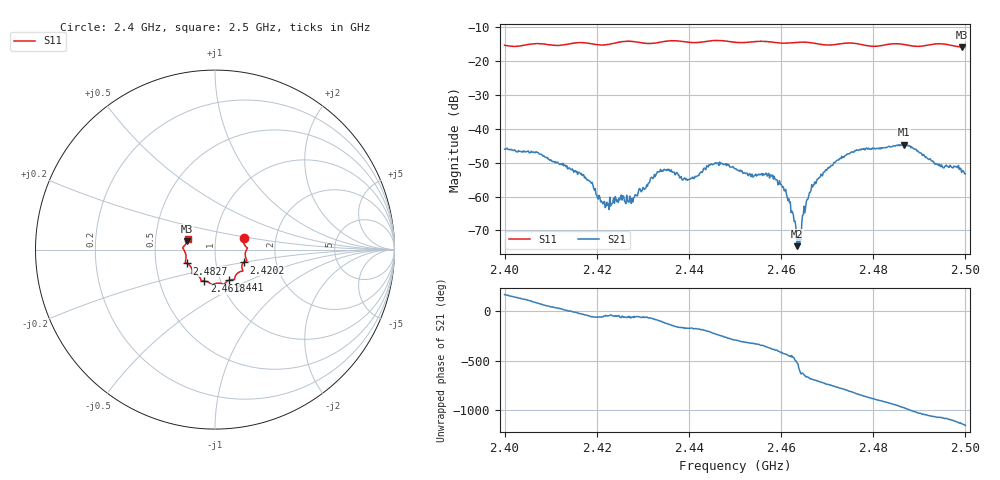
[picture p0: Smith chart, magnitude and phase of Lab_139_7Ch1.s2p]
# Hz S RI R 50
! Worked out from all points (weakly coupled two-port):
!   601 points, 2.4 GHz to 2.5 GHz, reference 50 ohm
!   highest |S21| = -44.68 dB at 2.4867 GHz (marker M1); lowest = -74.7 dB at 2.4635 GHz (marker M2)
!   lowest |S11| = -15.8 dB at 2.4992 GHz (marker M3), VSWR 1.39, Z = 36.4 + j3.62 ohm
!   |S11| at or under -10 dB: start of sweep to end of sweep
!   S12 and S22 are empty: the file has one direction only
!   S11 on the Smith chart (normalised r, x): 2.4 GHz: 1.37, +0.18; 2.4202 GHz: 1.36, -0.20; 2.441 GHz: 1.10, -0.39; 2.4618 GHz: 0.84, -0.30; 2.4827 GHz: 0.72, -0.11; 2.5 GHz: 0.73, +0.09
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2.4e9  0.1591 0.0629  -0.00491 0.000905  0 0  0 0
2.406833e9  0.1806 0.00902  0.000274 0.00459  0 0  0 0
2.416667e9  0.1773 -0.0609  0.00196 -0.000993  0 0  0 0
2.420167e9  0.1589 -0.0716  0.000449 -0.000839  0 0  0 0
2.422167e9  0.1499 -0.0892  0.000579 -0.000588  0 0  0 0
2.427333e9  0.1549 -0.1195  0.000337 -0.000843  0 0  0 0
2.433333e9  0.1116 -0.1507  -6.9e-05 -0.00232  0 0  0 0
2.441e9  0.0787 -0.1698  -0.00184 -5.18e-05  0 0  0 0
2.445333e9  0.0513 -0.1939  -0.0022 0.00204  0 0  0 0
2.45e9  0.0286 -0.1874  0.000959 0.00238  0 0  0 0
2.458167e9  -0.0262 -0.1884  0.00187 -0.000906  0 0  0 0
2.461833e9  -0.0591 -0.1756  -6.13e-05 -0.000811  0 0  0 0
2.4635e9  -0.0713 -0.1752  -0.000177 -5.23e-05  0 0  0 0
2.464e9  -0.0736 -0.1751  -0.000104 0.000162  0 0  0 0
2.465167e9  -0.0767 -0.1738  0.000186 0.000542  0 0  0 0
2.466667e9  -0.0788 -0.1683  0.00126 0.000798  0 0  0 0
2.474833e9  -0.1271 -0.1341  -7.71e-05 -0.00428  0 0  0 0
2.482667e9  -0.1559 -0.0771  -0.00501 0.00167  0 0  0 0
2.483333e9  -0.1604 -0.0751  -0.00483 0.00262  0 0  0 0
2.486667e9  -0.1641 -0.0626  -0.00133 0.00568  0 0  0 0
2.499167e9  -0.1549 0.0483  0.00123 -0.00192  0 0  0 0
2.5e9  -0.1524 0.0602  0.000509 -0.0021  0 0  0 0
